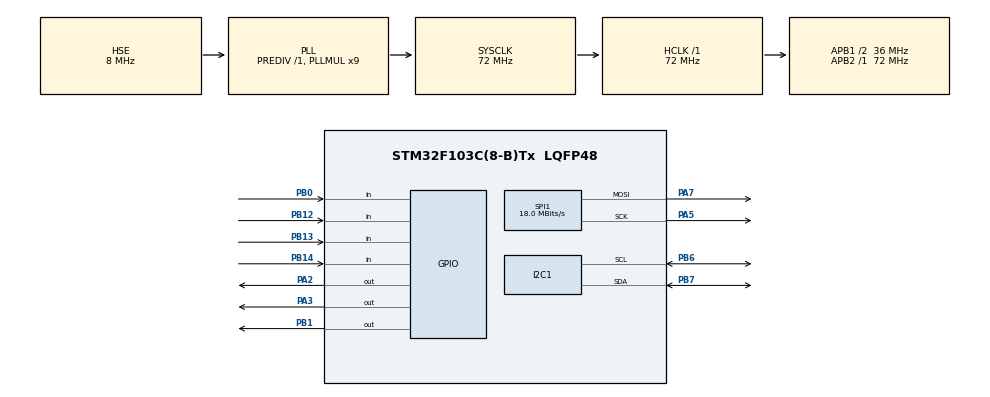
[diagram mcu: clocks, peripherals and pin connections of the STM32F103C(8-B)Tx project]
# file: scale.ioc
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FREERTOS.INCLUDE_uxTaskGetStackHighWaterMark=1
FREERTOS.Tasks01=defaultTask,0,128,StartDefaultTask,Default,NULL,Dynamic,NULL,NULL
FREERTOS.configCHECK_FOR_STACK_OVERFLOW=2
FREERTOS.configTOTAL_HEAP_SIZE=10240
FREERTOS.configUSE_MALLOC_FAILED_HOOK=1
Mcu.Family=STM32F1
Mcu.Name=STM32F103C(8-B)Tx
Mcu.Package=LQFP48
NVIC.PriorityGroup=NVIC_PRIORITYGROUP_4
NVIC.TIM4_IRQn=true\:15\:0\:false\:false\:true\:false\:false\:true\:true
NVIC.TimeBase=TIM4_IRQn
NVIC.TimeBaseIP=TIM4
PA13.Mode=Serial_Wire
PA13.Signal=SYS_JTMS-SWDIO
PA14.Mode=Serial_Wire
PA14.Signal=SYS_JTCK-SWCLK
PA2.Signal=GPIO_Output
PA3.Signal=GPIO_Output
PA5.Mode=TX_Only_Simplex_Unidirect_Master
PA5.Signal=SPI1_SCK
PA7.Mode=TX_Only_Simplex_Unidirect_Master
PA7.Signal=SPI1_MOSI
PB0.Signal=GPIO_Input
PB1.Signal=GPIO_Output
PB12.GPIO_PuPd=GPIO_PULLUP
PB12.Signal=GPIO_Input
PB13.GPIO_PuPd=GPIO_PULLUP
PB13.Signal=GPIO_Input
PB14.GPIO_PuPd=GPIO_PULLUP
PB14.Signal=GPIO_Input
PB6.Mode=I2C
PB6.Signal=I2C1_SCL
PB7.Mode=I2C
PB7.Signal=I2C1_SDA
PD0-OSC_IN.Mode=HSE-External-Oscillator
PD0-OSC_IN.Signal=RCC_OSC_IN
PD1-OSC_OUT.Mode=HSE-External-Oscillator
PD1-OSC_OUT.Signal=RCC_OSC_OUT
ProjectManager.HeapSize=0x200
ProjectManager.StackSize=0x400
ProjectManager.TargetToolchain=MDK-ARM V5.32
RCC.AHBFreq_Value=72000000
RCC.APB1CLKDivider=RCC_HCLK_DIV2
RCC.APB1Freq_Value=36000000
RCC.APB1TimFreq_Value=72000000
RCC.APB2Freq_Value=72000000
RCC.APB2TimFreq_Value=72000000
RCC.HCLKFreq_Value=72000000
RCC.PLLMUL=RCC_PLL_MUL9
RCC.PLLSourceVirtual=RCC_PLLSOURCE_HSE
RCC.SYSCLKFreq_VALUE=72000000
RCC.SYSCLKSource=RCC_SYSCLKSOURCE_PLLCLK
RCC.USBFreq_Value=72000000
SPI1.BaudRatePrescaler=SPI_BAUDRATEPRESCALER_4
SPI1.CLKPhase=SPI_PHASE_2EDGE
SPI1.CLKPolarity=SPI_POLARITY_HIGH
SPI1.CalculateBaudRate=18.0 MBits/s
SPI1.Direction=SPI_DIRECTION_2LINES
SPI1.Mode=SPI_MODE_MASTER
SPI1.VirtualType=VM_MASTER
VP_FREERTOS_VS_CMSIS_V1.Mode=CMSIS_V1
VP_SYS_VS_tim4.Mode=TIM4
board=custom

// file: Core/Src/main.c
/* USER CODE BEGIN Header */
/**
  ******************************************************************************
  * @file           : main.c
  * @brief          : Main program body
  ******************************************************************************
  * @attention
  *
  * Copyright (c) 2026 STMicroelectronics.
  * All rights reserved.
  *
  * This software is licensed under terms that can be found in the LICENSE file
  * in the root directory of this software component.
  * If no LICENSE file comes with this software, it is provided AS-IS.
  *
  ******************************************************************************
  */
/* USER CODE END Header */
#include "main.h"
#include "cmsis_os.h"

/* USER CODE BEGIN Includes */
#include "app_main.h"

/* USER CODE END Includes */

I2C_HandleTypeDef hi2c1;

SPI_HandleTypeDef hspi1;

osThreadId defaultTaskHandle;

void SystemClock_Config(void);
static void MX_GPIO_Init(void);
static void MX_I2C1_Init(void);
static void MX_SPI1_Init(void);
void StartDefaultTask(void const * argument);

/* USER CODE BEGIN 0 */
/* USER CODE BEGIN 0 */
#define TEST_TFT_RST_PORT   GPIOA
#define TEST_TFT_RST_PIN    GPIO_PIN_2
#define TEST_TFT_DC_PORT    GPIOA
#define TEST_TFT_DC_PIN     GPIO_PIN_3

static void TFT_WriteCmd(uint8_t cmd)
{
  HAL_GPIO_WritePin(TEST_TFT_DC_PORT, TEST_TFT_DC_PIN, GPIO_PIN_RESET);
  HAL_SPI_Transmit(&hspi1, &cmd, 1, 100);
}

static void TFT_WriteData(const uint8_t *data, uint16_t len)
{
  HAL_GPIO_WritePin(TEST_TFT_DC_PORT, TEST_TFT_DC_PIN, GPIO_PIN_SET);
  HAL_SPI_Transmit(&hspi1, (uint8_t *)data, len, 100);
}

static void TFT_SendCmdArgs(uint8_t cmd, const uint8_t *args, uint16_t len)
{
  TFT_WriteCmd(cmd);
  TFT_WriteData(args, len);
}

static void TFT_TestInit(void)
{
  const uint8_t colmod = 0x55; /* RGB565 16-bit */
  const uint8_t madctl = 0x00;

  /* Reset c?ng qua ch�n PA2 */
  HAL_GPIO_WritePin(TEST_TFT_RST_PORT, TEST_TFT_RST_PIN, GPIO_PIN_SET);
  HAL_Delay(20);
  HAL_GPIO_WritePin(TEST_TFT_RST_PORT, TEST_TFT_RST_PIN, GPIO_PIN_RESET);
  HAL_Delay(20);
  HAL_GPIO_WritePin(TEST_TFT_RST_PORT, TEST_TFT_RST_PIN, GPIO_PIN_SET);
  HAL_Delay(150);

  TFT_WriteCmd(0x01); /* SWRESET */
  HAL_Delay(150);
  TFT_WriteCmd(0x11); /* SLPOUT */
  HAL_Delay(150);

  TFT_SendCmdArgs(0x3A, &colmod, 1);
  TFT_SendCmdArgs(0x36, &madctl, 1);
  TFT_WriteCmd(0x21); /* INVON cho t?m n?n IPS */
  HAL_Delay(10);
  TFT_WriteCmd(0x13); /* NORON */
  HAL_Delay(10);
  TFT_WriteCmd(0x29); /* DISPON */
  HAL_Delay(100);
}

static void TFT_TestFillColor(uint16_t color)
{
  const uint8_t caset[4] = {0x00, 0x00, 0x00, 239}; /* C?t 0..239 */
  const uint8_t raset[4] = {0x00, 0x00, 0x00, 239}; /* H�ng 0..239 */
  uint8_t row_buf[240 * 2];
  uint16_t i;

  for (i = 0; i < 240; i++)
  {
    row_buf[2 * i]     = (uint8_t)(color >> 8);
    row_buf[2 * i + 1] = (uint8_t)(color & 0xFF);
  }

  TFT_SendCmdArgs(0x2A, caset, 4);
  TFT_SendCmdArgs(0x2B, raset, 4);
  TFT_WriteCmd(0x2C); /* RAMWR */

  HAL_GPIO_WritePin(TEST_TFT_DC_PORT, TEST_TFT_DC_PIN, GPIO_PIN_SET);
  for (i = 0; i < 240; i++)
  {
    HAL_SPI_Transmit(&hspi1, row_buf, sizeof(row_buf), 100);
  }
}

static void TFT_RunColorLoop(void)
{
  TFT_TestInit();
  while (1)
  {
    TFT_TestFillColor(0xF800); /* �? */
    HAL_Delay(1000);
    TFT_TestFillColor(0x07E0); /* Xanh l� */
    HAL_Delay(1000);
    TFT_TestFillColor(0x001F); /* Xanh duong */
    HAL_Delay(1000);
    TFT_TestFillColor(0xFFFF); /* Tr?ng */
    HAL_Delay(1000);
    TFT_TestFillColor(0x0000); /* �en */
    HAL_Delay(1000);
  }
}
/* USER CODE END 0 */

int main(void)
{

  /* MCU Configuration--------------------------------------------------------*/

  /* Reset of all peripherals, Initializes the Flash interface and the Systick. */
  HAL_Init();

  /* Configure the system clock */
  SystemClock_Config();

  /* Initialize all configured peripherals */
  MX_GPIO_Init();
  MX_I2C1_Init();
  MX_SPI1_Init();
  /* USER CODE BEGIN 2 */
  app_main();   /* kh?i t?o IPC, t?o 3 task, ch?y scheduler (kh�ng bao gi? return) */

  /* USER CODE END 2 */

  /* Create the thread(s) */
  /* definition and creation of defaultTask */
  osThreadDef(defaultTask, StartDefaultTask, osPriorityNormal, 0, 128);
  defaultTaskHandle = osThreadCreate(osThread(defaultTask), NULL);

  /* Start scheduler */
  osKernelStart();

  /* We should never get here as control is now taken by the scheduler */

  /* Infinite loop */
  while (1)
  {

  }
}

void SystemClock_Config(void)
{
  RCC_OscInitTypeDef RCC_OscInitStruct = {0};
  RCC_ClkInitTypeDef RCC_ClkInitStruct = {0};

  /** Initializes the RCC Oscillators according to the specified parameters
  * in the RCC_OscInitTypeDef structure.
  */
  RCC_OscInitStruct.OscillatorType = RCC_OSCILLATORTYPE_HSE;
  RCC_OscInitStruct.HSEState = RCC_HSE_ON;
  RCC_OscInitStruct.HSEPredivValue = RCC_HSE_PREDIV_DIV1;
  RCC_OscInitStruct.HSIState = RCC_HSI_ON;
  RCC_OscInitStruct.PLL.PLLState = RCC_PLL_ON;
  RCC_OscInitStruct.PLL.PLLSource = RCC_PLLSOURCE_HSE;
  RCC_OscInitStruct.PLL.PLLMUL = RCC_PLL_MUL9;
  if (HAL_RCC_OscConfig(&RCC_OscInitStruct) != HAL_OK)
  {
    Error_Handler();
  }

  /** Initializes the CPU, AHB and APB buses clocks
  */
  RCC_ClkInitStruct.ClockType = RCC_CLOCKTYPE_HCLK|RCC_CLOCKTYPE_SYSCLK
                              |RCC_CLOCKTYPE_PCLK1|RCC_CLOCKTYPE_PCLK2;
  RCC_ClkInitStruct.SYSCLKSource = RCC_SYSCLKSOURCE_PLLCLK;
  RCC_ClkInitStruct.AHBCLKDivider = RCC_SYSCLK_DIV1;
  RCC_ClkInitStruct.APB1CLKDivider = RCC_HCLK_DIV2;
  RCC_ClkInitStruct.APB2CLKDivider = RCC_HCLK_DIV1;

  if (HAL_RCC_ClockConfig(&RCC_ClkInitStruct, FLASH_LATENCY_2) != HAL_OK)
  {
    Error_Handler();
  }
}

static void MX_I2C1_Init(void)
{

  hi2c1.Instance = I2C1;
  hi2c1.Init.ClockSpeed = 100000;
  hi2c1.Init.DutyCycle = I2C_DUTYCYCLE_2;
  hi2c1.Init.OwnAddress1 = 0;
  hi2c1.Init.AddressingMode = I2C_ADDRESSINGMODE_7BIT;
  hi2c1.Init.DualAddressMode = I2C_DUALADDRESS_DISABLE;
  hi2c1.Init.OwnAddress2 = 0;
  hi2c1.Init.GeneralCallMode = I2C_GENERALCALL_DISABLE;
  hi2c1.Init.NoStretchMode = I2C_NOSTRETCH_DISABLE;
  if (HAL_I2C_Init(&hi2c1) != HAL_OK)
  {
    Error_Handler();
  }

}

static void MX_SPI1_Init(void)
{

  /* SPI1 parameter configuration*/
  hspi1.Instance = SPI1;
  hspi1.Init.Mode = SPI_MODE_MASTER;
  hspi1.Init.Direction = SPI_DIRECTION_2LINES;
  hspi1.Init.DataSize = SPI_DATASIZE_8BIT;
  hspi1.Init.CLKPolarity = SPI_POLARITY_HIGH;
  hspi1.Init.CLKPhase = SPI_PHASE_2EDGE;
  hspi1.Init.NSS = SPI_NSS_SOFT;
  hspi1.Init.BaudRatePrescaler = SPI_BAUDRATEPRESCALER_4;
  hspi1.Init.FirstBit = SPI_FIRSTBIT_MSB;
  hspi1.Init.TIMode = SPI_TIMODE_DISABLE;
  hspi1.Init.CRCCalculation = SPI_CRCCALCULATION_DISABLE;
  hspi1.Init.CRCPolynomial = 10;
  if (HAL_SPI_Init(&hspi1) != HAL_OK)
  {
    Error_Handler();
  }

}

static void MX_GPIO_Init(void)
{
  GPIO_InitTypeDef GPIO_InitStruct = {0};

  /* GPIO Ports Clock Enable */
  __HAL_RCC_GPIOD_CLK_ENABLE();
  __HAL_RCC_GPIOA_CLK_ENABLE();
  __HAL_RCC_GPIOB_CLK_ENABLE();

  /*Configure GPIO pin Output Level */
  HAL_GPIO_WritePin(GPIOA, GPIO_PIN_2|GPIO_PIN_3, GPIO_PIN_RESET);

  /*Configure GPIO pin Output Level */
  HAL_GPIO_WritePin(GPIOB, GPIO_PIN_1, GPIO_PIN_RESET);

  /*Configure GPIO pins : PA2 PA3 */
  GPIO_InitStruct.Pin = GPIO_PIN_2|GPIO_PIN_3;
  GPIO_InitStruct.Mode = GPIO_MODE_OUTPUT_PP;
  GPIO_InitStruct.Pull = GPIO_NOPULL;
  GPIO_InitStruct.Speed = GPIO_SPEED_FREQ_LOW;
  HAL_GPIO_Init(GPIOA, &GPIO_InitStruct);

  /*Configure GPIO pin : PB0 */
  GPIO_InitStruct.Pin = GPIO_PIN_0;
  GPIO_InitStruct.Mode = GPIO_MODE_INPUT;
  GPIO_InitStruct.Pull = GPIO_NOPULL;
  HAL_GPIO_Init(GPIOB, &GPIO_InitStruct);

  /*Configure GPIO pin : PB1 */
  GPIO_InitStruct.Pin = GPIO_PIN_1;
  GPIO_InitStruct.Mode = GPIO_MODE_OUTPUT_PP;
  GPIO_InitStruct.Pull = GPIO_NOPULL;
  GPIO_InitStruct.Speed = GPIO_SPEED_FREQ_LOW;
  HAL_GPIO_Init(GPIOB, &GPIO_InitStruct);

  /*Configure GPIO pins : PB12 PB13 PB14 */
  GPIO_InitStruct.Pin = GPIO_PIN_12|GPIO_PIN_13|GPIO_PIN_14;
  GPIO_InitStruct.Mode = GPIO_MODE_INPUT;
  GPIO_InitStruct.Pull = GPIO_PULLUP;
  HAL_GPIO_Init(GPIOB, &GPIO_InitStruct);

}

void StartDefaultTask(void const * argument)
{
  for(;;)
  {
    osDelay(1);
  }
}

void HAL_TIM_PeriodElapsedCallback(TIM_HandleTypeDef *htim)
{
  if (htim->Instance == TIM4)
  {
    HAL_IncTick();
  }
}

void Error_Handler(void)
{
  __disable_irq();
  while (1)
  {
  }
}
